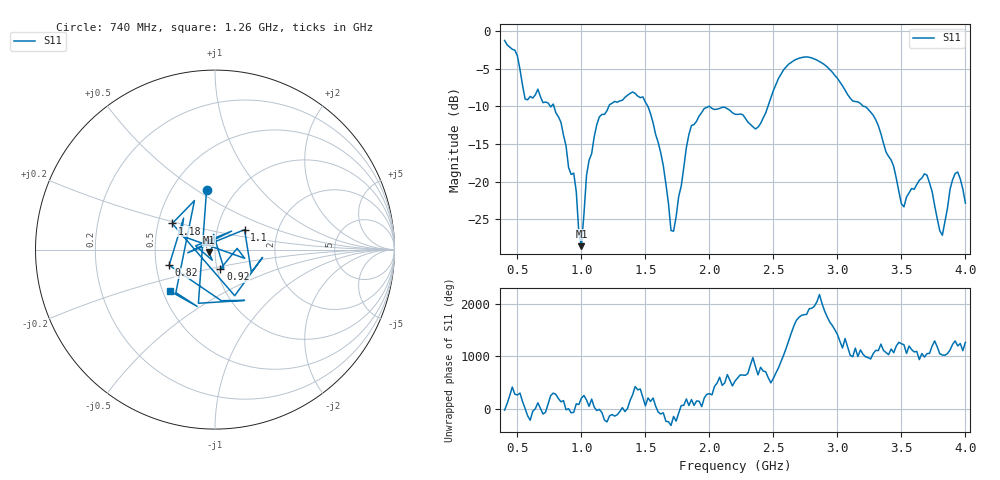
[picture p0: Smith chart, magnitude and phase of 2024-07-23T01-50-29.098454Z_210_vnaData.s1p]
!Created with skrf (http://scikit-rf.org).
# Hz S RI R 50.0
!freq ReS11 ImS11
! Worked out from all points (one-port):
!   181 points, 400 MHz to 4 GHz, reference 50 ohm
!   lowest |S11| = -28.6 dB at 1 GHz (marker M1), VSWR 1.08, Z = 46.7 - j1.44 ohm
!   |S11| at or under -10 dB: 1.519 GHz to 1.997 GHz (478 MHz wide, 27.2 % of centre); 2.001 GHz to 2.457 GHz (456.1 MHz wide, 20.5 % of centre); 3.206 GHz to end of sweep (the widest 3 of 5)
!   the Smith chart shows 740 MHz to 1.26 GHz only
!   S11 on the Smith chart (normalised r, x): 740 MHz: 0.74, +0.55; 820 MHz: 0.59, -0.11; 920 MHz: 1.04, -0.23; 1.1 GHz: 1.35, +0.31; 1.18 GHz: 0.59, +0.19; 1.26 GHz: 0.55, -0.29
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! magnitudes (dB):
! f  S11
! 400 MHz  -1.2
! 560 MHz  -9.0
! 740 MHz  -9.6
! 820 MHz  -11.4
! 860 MHz  -13.8
! 920 MHz  -19.1
! 1 GHz  -28.6
! 1.04 GHz  -19.2
! 1.1 GHz  -14.0
! 1.18 GHz  -11.1
! 1.26 GHz  -9.4
! 1.3 GHz  -9.3
! 1.52 GHz  -10.0
! 1.64 GHz  -17.9
! 1.7 GHz  -26.5
! 1.76 GHz  -22.0
! 1.86 GHz  -12.6
! 2.2 GHz  -11.1
! 2.38 GHz  -12.8
! 2.66 GHz  -3.9
! 3.1 GHz  -8.9
! 3.3 GHz  -11.8
! 3.5 GHz  -23.0
! 3.56 GHz  -21.5
! 3.7 GHz  -19.2
! 3.82 GHz  -27.1
! 3.92 GHz  -18.9
! 4 GHz  -22.9
